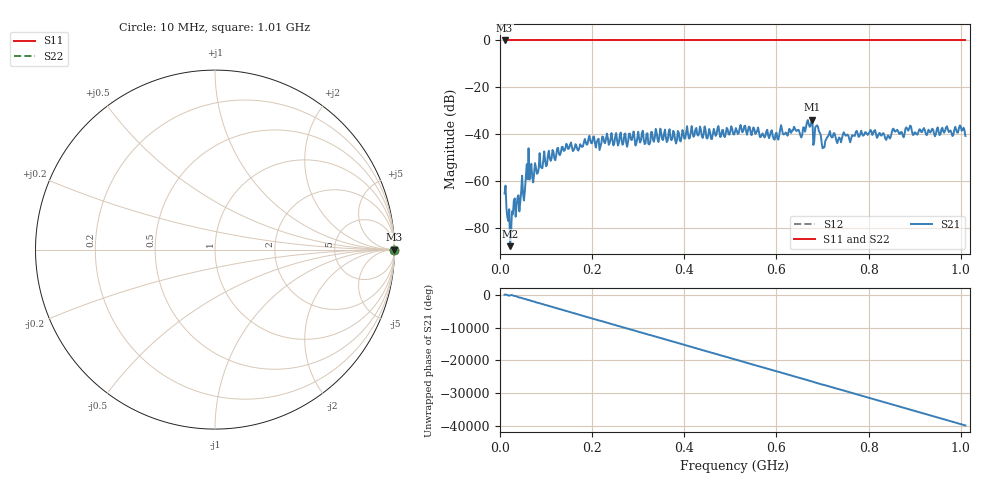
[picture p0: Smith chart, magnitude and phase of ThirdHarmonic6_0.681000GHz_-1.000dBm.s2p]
! 8/15/2025 10:43:09 PM
! C:\ANRITSUVNA\TEMP\TEMP.S2P
! CHANNEL.1
! TR.MEASUREMENT
! RAW.DATA
! RF.CORRECTION.OFF
! AVERAGING.OFF
! IF.BANDWIDTH: 5KHZ
! SWEEPTYPE:  FREQ.SWEEP(Linear)
! Reference Plane Port Info
! PORT:  PORT1  PORT2
! DISTANCE:  0  m  0  m
! TIME:  0  s  0  s
! PHASE.OFFSET:  0  deg.  0  deg.
! LOSS:  0  dB  0  dB
! REF.LOSS:  0  dB  0  dB
! REF.FREQ:  0  Hz  0  Hz
! Power Info
! POWER:  -20  dBm  -20  dBm
! EFF.POWER:  -20  dBm  -20  dBm
! SOURCE.ATTEN:  0  dB  0  dB
! TEST.ATTEN:  0  dB  0  dB
# GHZ S RI R 50.0
! FREQ.GHZ  S11RE  S11IM  S21RE  S21IM  S12RE  S12IM  S22RE  S22IM
!; PortSelection: Port_12
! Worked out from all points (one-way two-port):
!   501 points, 10 MHz to 1.01 GHz, reference 50 ohm
!   highest |S21| = -33.84 dB at 678 MHz (marker M1); lowest = -88.0 dB at 22 MHz (marker M2)
!   lowest |S11| = 0.0 dB at 10 MHz (marker M3)
!   |S11| at or under -10 dB: nowhere
!   |S22| runs from 0.0 to 0.0 dB; largest |S21 - S12| = 1
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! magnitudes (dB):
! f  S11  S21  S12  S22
! 10 MHz  0.0  -65.5  0.0  0.0
! 18 MHz  0.0  -77.2  0.0  0.0
! 22 MHz  0.0  -88.0  0.0  0.0
! 54 MHz  0.0  -64.3  0.0  0.0
! 62 MHz  0.0  -46.1  0.0  0.0
! 68 MHz  0.0  -52.8  0.0  0.0
! 110 MHz  0.0  -51.5  0.0  0.0
! 178 MHz  0.0  -45.5  0.0  0.0
! 344 MHz  0.0  -43.4  0.0  0.0
! 510 MHz  0.0  -39.1  0.0  0.0
! 600 MHz  0.0  -39.4  0.0  0.0
! 612 MHz  0.0  -38.2  0.0  0.0
! 652 MHz  0.0  -40.7  0.0  0.0
! 674 MHz  0.0  -36.5  0.0  0.0
! 678 MHz  0.0  -33.8  0.0  0.0
! 690 MHz  0.0  -36.8  0.0  0.0
! 702 MHz  0.0  -45.6  0.0  0.0
! 714 MHz  0.0  -40.1  0.0  0.0
! 844 MHz  0.0  -41.1  0.0  0.0
! 888 MHz  0.0  -37.7  0.0  0.0
! 900 MHz  0.0  -39.3  0.0  0.0
! 1.01 GHz  0.0  -40.8  0.0  0.0
